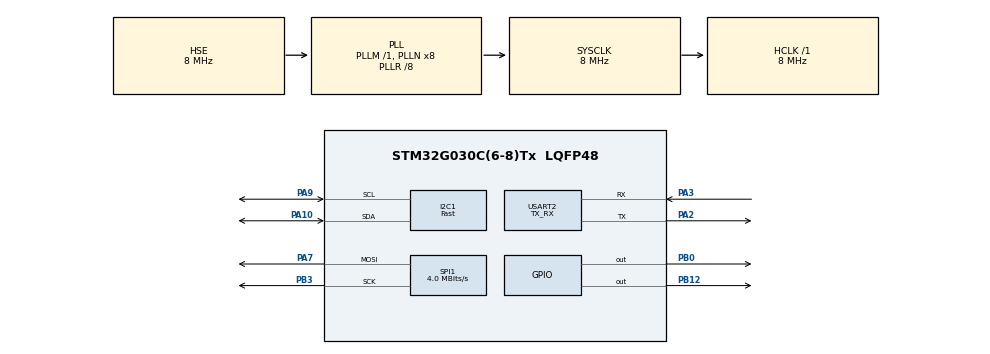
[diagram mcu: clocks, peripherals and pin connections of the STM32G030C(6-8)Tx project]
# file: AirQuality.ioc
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I2C1.CustomTiming=Disabled
I2C1.I2C_Speed_Mode=I2C_Fast
I2C1.Timing=0x0000020B
Mcu.Family=STM32G0
Mcu.Name=STM32G030C(6-8)Tx
Mcu.Package=LQFP48
NVIC.I2C1_IRQn=true\:0\:0\:false\:false\:true\:true\:true\:true
NVIC.TIM1_BRK_UP_TRG_COM_IRQn=true\:0\:0\:false\:false\:true\:true\:true\:true
NVIC.TIM1_CC_IRQn=true\:0\:0\:false\:false\:true\:true\:true\:true
NVIC.TIM3_IRQn=true\:0\:0\:false\:false\:true\:true\:true\:true
PA10.Mode=I2C
PA10.Signal=I2C1_SDA
PA13.Mode=Serial_Wire
PA13.Signal=SYS_SWDIO
PA14-BOOT0.Mode=Serial_Wire
PA14-BOOT0.Signal=SYS_SWCLK
PA2.Mode=Asynchronous
PA2.Signal=USART2_TX
PA3.Mode=Asynchronous
PA3.Signal=USART2_RX
PA7.Mode=TX_Only_Simplex_Unidirect_Master
PA7.Signal=SPI1_MOSI
PA9.Mode=I2C
PA9.Signal=I2C1_SCL
PB0.GPIO_Speed=GPIO_SPEED_FREQ_MEDIUM
PB0.PinState=GPIO_PIN_SET
PB0.Signal=GPIO_Output
PB12.GPIO_PuPd=GPIO_NOPULL
PB12.Signal=GPIO_Output
PB3.Mode=TX_Only_Simplex_Unidirect_Master
PB3.Signal=SPI1_SCK
PF0-OSC_IN\ (PF0).Mode=HSE-External-Oscillator
PF0-OSC_IN\ (PF0).Signal=RCC_OSC_IN
PF1-OSC_OUT\ (PF1).Mode=HSE-External-Oscillator
PF1-OSC_OUT\ (PF1).Signal=RCC_OSC_OUT
ProjectManager.HeapSize=0x200
ProjectManager.StackSize=0x400
ProjectManager.TargetToolchain=MDK-ARM V5.32
RCC.ADCFreq_Value=8000000
RCC.AHBFreq_Value=8000000
RCC.CortexFreq_Value=8000000
RCC.EXTERNAL_CLOCK_VALUE=12288000
RCC.HCLKFreq_Value=8000000
RCC.HSE_VALUE=8000000
RCC.HSI_VALUE=16000000
RCC.LSE_VALUE=32768
RCC.PLLR=RCC_PLLR_DIV8
RCC.PLLSourceVirtual=RCC_PLLSOURCE_HSE
RCC.SYSCLKFreq_VALUE=8000000
RCC.SYSCLKSource=RCC_SYSCLKSOURCE_PLLCLK
RCC.VCOOutputFreq_Value=64000000
SPI1.BaudRatePrescaler=SPI_BAUDRATEPRESCALER_2
SPI1.CalculateBaudRate=4.0 MBits/s
SPI1.Direction=SPI_DIRECTION_2LINES
SPI1.Mode=SPI_MODE_MASTER
SPI1.VirtualType=VM_MASTER
TIM1.AutoReloadPreload=TIM_AUTORELOAD_PRELOAD_ENABLE
TIM1.Period=9999
TIM1.Prescaler=799
TIM3.AutoReloadPreload=TIM_AUTORELOAD_PRELOAD_ENABLE
TIM3.Period=999
TIM3.Prescaler=799
USART2.Mode=MODE_TX_RX
USART2.VirtualMode-Asynchronous=VM_ASYNC
VP_TIM1_VS_ClockSourceINT.Mode=Internal
VP_TIM3_VS_ClockSourceINT.Mode=Internal
board=custom

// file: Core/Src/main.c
/* USER CODE BEGIN Header */
/**
  ******************************************************************************
  * @file           : main.c
  * @brief          : Main program body
  ******************************************************************************
  * @attention
  *
  * Copyright (c) 2023 STMicroelectronics.
  * All rights reserved.
  *
  * This software is licensed under terms that can be found in the LICENSE file
  * in the root directory of this software component.
  * If no LICENSE file comes with this software, it is provided AS-IS.
  *
  ******************************************************************************
  */
/* USER CODE END Header */
#include "main.h"
#include "i2c.h"
#include "spi.h"
#include "tim.h"
#include "usart.h"
#include "gpio.h"

/* USER CODE BEGIN Includes */
#include "stdio.h"
#include "stdbool.h"
#include "CCS811_Basic.h"
/* USER CODE END Includes */

/* USER CODE BEGIN PD */
#define AHT10_ADRESS (0x38 << 1) // 0b1110000; Adress[7-bit]Wite/Read[1-bit]
/* USER CODE END PD */

/* USER CODE BEGIN PV */
uint8_t Buffer[25] = {0};
uint8_t Space[] = " - ";
uint8_t StartMSG[] = "Starting I2C Scanning: \r\n";
uint8_t EndMSG[] = "Done! \r\n\r\n";

uint8_t AHT10_RX_Data[6];
uint32_t AHT10_ADC_Raw;
float AHT10_Temperature;
float AHT10_Humidity;
uint8_t AHT10_TmpHum_Cmd[3] = {0xAC, 0x33, 0x00};
uint8_t* BUFFER2 = 0;
uint16_t conter2 = 0;

uint8_t dacReset[3] = {0b00101000 ,0b00000000 ,0b00000001};
uint8_t dacRegister[3] = {0b00000111 ,0b11111111 ,0b11111111};
uint8_t dacUpdate[3] = {0b00001111 ,0b00000000 ,0b00000000};

bool T_100ms = true;
bool AHT10_Switcher = true;
/* USER CODE END PV */

void SystemClock_Config(void);

int main(void)
{

  /* MCU Configuration--------------------------------------------------------*/

  /* Reset of all peripherals, Initializes the Flash interface and the Systick. */
  HAL_Init();

  /* Configure the system clock */
  SystemClock_Config();

  /* Initialize all configured peripherals */
  MX_GPIO_Init();
  MX_I2C1_Init();
  MX_SPI1_Init();
  MX_USART2_UART_Init();
  MX_TIM1_Init();
  MX_TIM3_Init();
  /* USER CODE BEGIN 2 */
	HAL_TIM_Base_Start_IT(&htim1);
	HAL_TIM_Base_Start_IT(&htim3);

	HAL_GPIO_WritePin(GPIOB ,GPIO_PIN_0 ,GPIO_PIN_RESET);

	HAL_SPI_Transmit(&hspi1 ,&dacReset[0] ,1 ,300);
	HAL_SPI_Transmit(&hspi1 ,&dacReset[1] ,1 ,300);
	HAL_SPI_Transmit(&hspi1 ,&dacReset[2] ,1 ,300);

	HAL_GPIO_WritePin(GPIOB ,GPIO_PIN_0 ,GPIO_PIN_SET);
	HAL_Delay(1000);

	HAL_GPIO_WritePin(GPIOB ,GPIO_PIN_0 ,GPIO_PIN_RESET);

	HAL_SPI_Transmit(&hspi1 ,&dacRegister[0] ,1 ,300);
	HAL_SPI_Transmit(&hspi1 ,&dacRegister[1] ,1 ,300);
	HAL_SPI_Transmit(&hspi1 ,&dacRegister[2] ,1 ,300);

	HAL_GPIO_WritePin(GPIOB ,GPIO_PIN_0 ,GPIO_PIN_SET);
	HAL_Delay(1000);

	HAL_GPIO_WritePin(GPIOB ,GPIO_PIN_0 ,GPIO_PIN_RESET);

	HAL_SPI_Transmit(&hspi1 ,&dacUpdate[0] ,1 ,300);
	HAL_SPI_Transmit(&hspi1 ,&dacUpdate[1] ,1 ,300);
	HAL_SPI_Transmit(&hspi1 ,&dacUpdate[2] ,1 ,300);

	HAL_GPIO_WritePin(GPIOB ,GPIO_PIN_0 ,GPIO_PIN_SET);

	/* I2C Scanner */
	HAL_UART_Transmit(&huart2, StartMSG, sizeof(StartMSG), 10000);
	uint8_t i = 0, ret;
  for(i=1; i<128; i++)
  {
		ret = HAL_I2C_IsDeviceReady(&hi2c1, (uint16_t)(i<<1), 3, 5);
    if (ret != HAL_OK) /* No ACK Received At That Address */
    {
			HAL_UART_Transmit(&huart2, Space, sizeof(Space), 10000);
    }
    else if(ret == HAL_OK)
    {
      sprintf(Buffer, "0x%X", i);
      HAL_UART_Transmit(&huart2, Buffer, sizeof(Buffer), 10000);
		}
  }
  HAL_UART_Transmit(&huart2, EndMSG, sizeof(EndMSG), 10000);
	/* END I2C Scanner */

	/* CCS811 Confing */
	configureCCS811();
	readAlgorithmResults();
	/* END CCS811 Confing */

  /* USER CODE END 2 */

  /* Infinite loop */
  /* USER CODE BEGIN WHILE */
  while (1)
  {
		/* Get ATH20 Data */
		if(AHT10_Switcher)
		{
			HAL_I2C_Master_Transmit_IT(&hi2c1, AHT10_ADRESS, (uint8_t*)AHT10_TmpHum_Cmd, 3); /* Send command (trigger measuremetns) + parameters */
		}
		else
		{
			HAL_I2C_Master_Receive_IT(&hi2c1, AHT10_ADRESS, (uint8_t*)AHT10_RX_Data, 6); /* Receive data: STATUS[1]:HIMIDITY[2.5]:TEMPERATURE[2.5] */
		}

		if(~AHT10_RX_Data[0] & 0x80)
		{
			/* Convert to Temperature in °C */
			AHT10_ADC_Raw = (((uint32_t)AHT10_RX_Data[3] & 15) << 16) | ((uint32_t)AHT10_RX_Data[4] << 8) | AHT10_RX_Data[5];
			AHT10_Temperature = (float)(AHT10_ADC_Raw * 200.00 / 1048576.00) - 50.00;

			/* Convert to Relative Humidity in % */
			AHT10_ADC_Raw = ((uint32_t)AHT10_RX_Data[1] << 12) | ((uint32_t)AHT10_RX_Data[2] << 4) | (AHT10_RX_Data[3] >> 4);
			AHT10_Humidity = (float)(AHT10_ADC_Raw*100.00/1048576.00);
		}

		if(AHT10_Switcher)
		{
			AHT10_Switcher = false;
		}
		else
		{
			AHT10_Switcher = true;
		}
		HAL_Delay(100);
		/* END Get ATH20 Data */

    /* USER CODE END WHILE */

  }
}

void SystemClock_Config(void)
{
  RCC_OscInitTypeDef RCC_OscInitStruct = {0};
  RCC_ClkInitTypeDef RCC_ClkInitStruct = {0};

  /** Configure the main internal regulator output voltage
  */
  HAL_PWREx_ControlVoltageScaling(PWR_REGULATOR_VOLTAGE_SCALE1);

  /** Initializes the RCC Oscillators according to the specified parameters
  * in the RCC_OscInitTypeDef structure.
  */
  RCC_OscInitStruct.OscillatorType = RCC_OSCILLATORTYPE_HSE;
  RCC_OscInitStruct.HSEState = RCC_HSE_ON;
  RCC_OscInitStruct.PLL.PLLState = RCC_PLL_ON;
  RCC_OscInitStruct.PLL.PLLSource = RCC_PLLSOURCE_HSE;
  RCC_OscInitStruct.PLL.PLLM = RCC_PLLM_DIV1;
  RCC_OscInitStruct.PLL.PLLN = 8;
  RCC_OscInitStruct.PLL.PLLP = RCC_PLLP_DIV2;
  RCC_OscInitStruct.PLL.PLLR = RCC_PLLR_DIV8;
  if (HAL_RCC_OscConfig(&RCC_OscInitStruct) != HAL_OK)
  {
    Error_Handler();
  }

  /** Initializes the CPU, AHB and APB buses clocks
  */
  RCC_ClkInitStruct.ClockType = RCC_CLOCKTYPE_HCLK|RCC_CLOCKTYPE_SYSCLK
                              |RCC_CLOCKTYPE_PCLK1;
  RCC_ClkInitStruct.SYSCLKSource = RCC_SYSCLKSOURCE_PLLCLK;
  RCC_ClkInitStruct.AHBCLKDivider = RCC_SYSCLK_DIV1;
  RCC_ClkInitStruct.APB1CLKDivider = RCC_HCLK_DIV1;

  if (HAL_RCC_ClockConfig(&RCC_ClkInitStruct, FLASH_LATENCY_0) != HAL_OK)
  {
    Error_Handler();
  }
}

void Error_Handler(void)
{
  __disable_irq();
  while (1)
  {
  }
}
